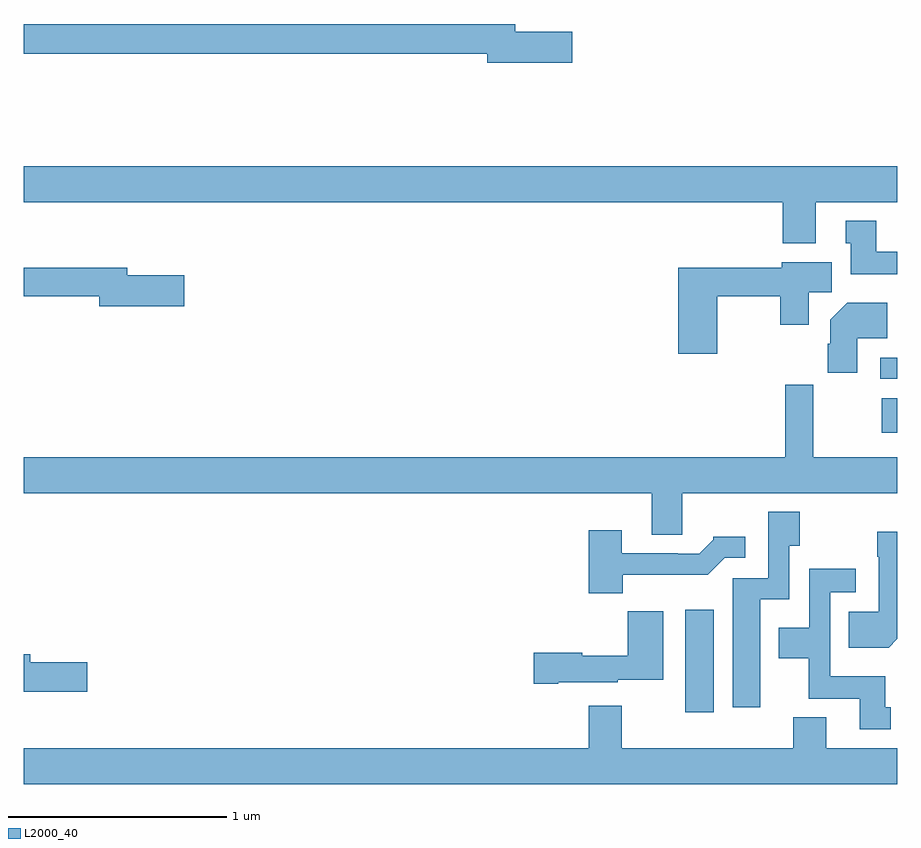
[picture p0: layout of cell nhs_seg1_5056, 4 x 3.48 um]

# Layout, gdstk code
import gdstk
lib = gdstk.Library(unit=1e-6, precision=1e-09)
def R(c, l, rs):  # rectangles x0, y0, x1, y1
    for r in rs: c.add(gdstk.rectangle(r[:2], r[2:], *l))
def P(c, l, *ps):  # polygons
    for p in ps: c.add(gdstk.Polygon(p, *l))
L2000_40 = (2000, 40)

nhs_seg1_5056 = lib.new_cell('nhs_seg1_5056')
R(nhs_seg1_5056, L2000_40, [(388.028,542.736,388.159,543.205), (388.929,544.016,389,544.174), (388.923,544.263,389,544.359)])
P(nhs_seg1_5056, L2000_40, [(387.511,545.852),(387.25,545.852),(387.25,545.888),(385,545.888),(385,545.752),(387.122,545.752),(387.122,545.71),(387.511,545.71)],
  [(388.627,545.072),(389,545.072),(389,545.236),(385,545.236),(385,545.072),(388.475,545.072),(388.475,544.883),(388.627,544.883)],
  [(389,544.846),(388.903,544.846),(388.903,544.987),(388.763,544.987),(388.763,544.884),(388.787,544.884),(388.787,544.742),(389,544.742)],
  [(388.176,544.642),(388.465,544.642),(388.465,544.512),(388.594,544.512),(388.594,544.66),(388.699,544.66),(388.699,544.798),(388.472,544.798),(388.472,544.771),(387.998,544.771),(387.998,544.377),(388.176,544.377)],
  [(385.735,544.737),(385.474,544.737),(385.474,544.771),(385,544.771),(385,544.642),(385.346,544.642),(385.346,544.595),(385.735,544.595)],
  [(388.816,544.448),(388.955,544.448),(388.955,544.612),(388.772,544.612),(388.694,544.534),(388.694,544.424),(388.682,544.424),(388.682,544.29),(388.816,544.29)],
  [(388.015,543.74),(389,543.74),(389,543.904),(388.615,543.904),(388.615,544.237),(388.486,544.237),(388.486,543.904),(385,543.904),(385,543.74),(387.875,543.74),(387.875,543.55),(388.015,543.55)],
  [(388.372,543.254),(388.506,543.254),(388.506,543.499),(388.554,543.499),(388.554,543.655),(388.41,543.655),(388.41,543.351),(388.247,543.351),(388.247,542.76),(388.372,542.76)],
  [(387.742,543.366),(388.131,543.366),(388.209,543.444),(388.303,543.444),(388.303,543.541),(388.158,543.541),(388.158,543.526),(388.094,543.462),(387.995,543.462),(387.995,543.465),(387.739,543.465),(387.739,543.571),(387.587,543.571),(387.587,543.281),(387.742,543.281)],
  [(389,543.072),(389,543.562),(388.909,543.562),(388.909,543.449),(388.916,543.449),(388.916,543.196),(388.777,543.196),(388.777,543.032),(388.96,543.032)],
  [(388.969,542.76),(388.945,542.76),(388.945,542.902),(388.692,542.902),(388.692,543.285),(388.81,543.285),(388.81,543.394),(388.596,543.394),(388.596,543.124),(388.457,543.124),(388.457,542.984),(388.594,542.984),(388.594,542.798),(388.829,542.798),(388.829,542.658),(388.969,542.658)],
  [(387.448,542.873),(387.72,542.873),(387.72,542.885),(387.928,542.885),(387.928,543.199),(387.766,543.199),(387.766,542.995),(387.558,542.995),(387.558,543.008),(387.336,543.008),(387.336,542.866),(387.448,542.866)],
  [(385.291,542.966),(385.03,542.966),(385.03,543.002),(385,543.002),(385,542.831),(385.291,542.831)],
  [(389,542.572),(388.675,542.572),(388.675,542.713),(388.523,542.713),(388.523,542.572),(387.739,542.572),(387.739,542.767),(387.587,542.767),(387.587,542.572),(385,542.572),(385,542.408),(389,542.408)])

lib.write_gds('nhs_seg1_5056.gds')
